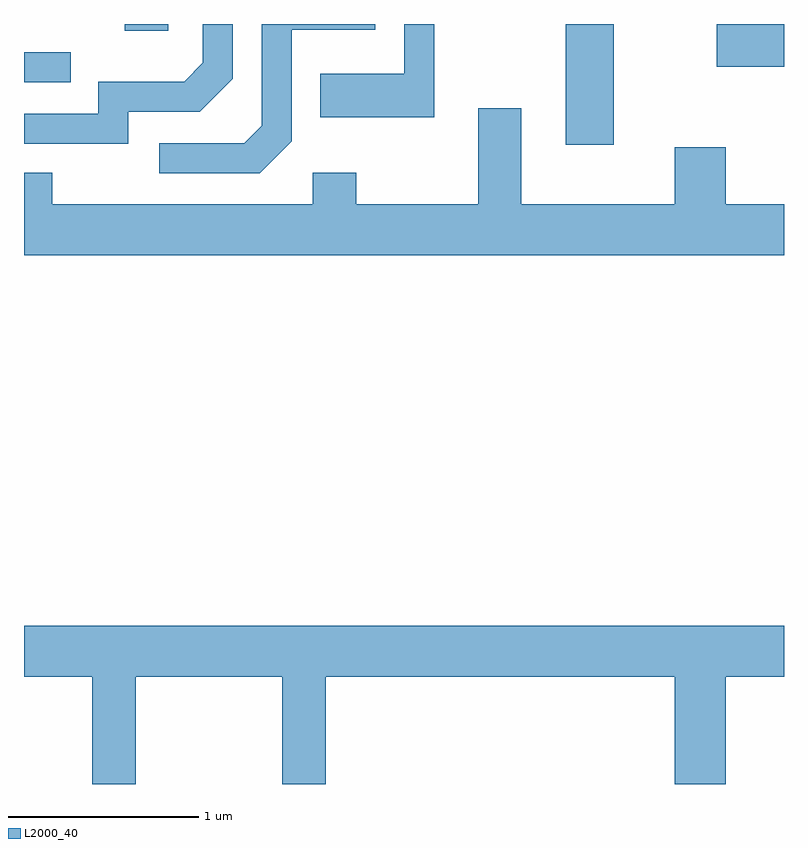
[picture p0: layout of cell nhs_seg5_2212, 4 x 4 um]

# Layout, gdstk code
import gdstk
lib = gdstk.Library(unit=1e-6, precision=1e-09)
def R(c, l, rs):  # rectangles x0, y0, x1, y1
    for r in rs: c.add(gdstk.rectangle(r[:2], r[2:], *l))
def P(c, l, *ps):  # polygons
    for p in ps: c.add(gdstk.Polygon(p, *l))
L2000_40 = (2000, 40)

nhs_seg5_2212 = lib.new_cell('nhs_seg5_2212')
R(nhs_seg5_2212, L2000_40, [(254.461,1397.436,254.714,1398.072), (251.611,1397.766,251.858,1397.924), (255.256,1397.846,255.611,1398.072), (252.141,1398.036,252.369,1398.072)])
P(nhs_seg5_2212, L2000_40, [(253.769,1398.072),(253.611,1398.072),(253.611,1397.809),(253.171,1397.809),(253.171,1397.581),(253.769,1397.581)],
  [(252.159,1397.611),(252.537,1397.611),(252.709,1397.784),(252.709,1398.072),(252.551,1398.072),(252.551,1397.867),(252.454,1397.769),(252.001,1397.769),(252.001,1397.599),(251.611,1397.599),(251.611,1397.441),(252.159,1397.441)],
  [(253.019,1397.454),(253.019,1398.041),(253.459,1398.041),(253.459,1398.072),(252.861,1398.072),(252.861,1397.537),(252.769,1397.444),(252.323,1397.444),(252.323,1397.286),(252.852,1397.286)],
  [(255.036,1397.424),(255.036,1397.124),(254.229,1397.124),(254.229,1397.629),(254.001,1397.629),(254.001,1397.124),(253.359,1397.124),(253.359,1397.289),(253.131,1397.289),(253.131,1397.124),(251.759,1397.124),(251.759,1397.289),(251.611,1397.289),(251.611,1396.856),(255.611,1396.856),(255.611,1397.124),(255.304,1397.124),(255.304,1397.424)],
  [(252.199,1394.636),(252.971,1394.636),(252.971,1394.072),(253.199,1394.072),(253.199,1394.636),(255.036,1394.636),(255.036,1394.072),(255.304,1394.072),(255.304,1394.636),(255.611,1394.636),(255.611,1394.904),(251.611,1394.904),(251.611,1394.636),(251.971,1394.636),(251.971,1394.072),(252.199,1394.072)])

lib.write_gds('nhs_seg5_2212.gds')
